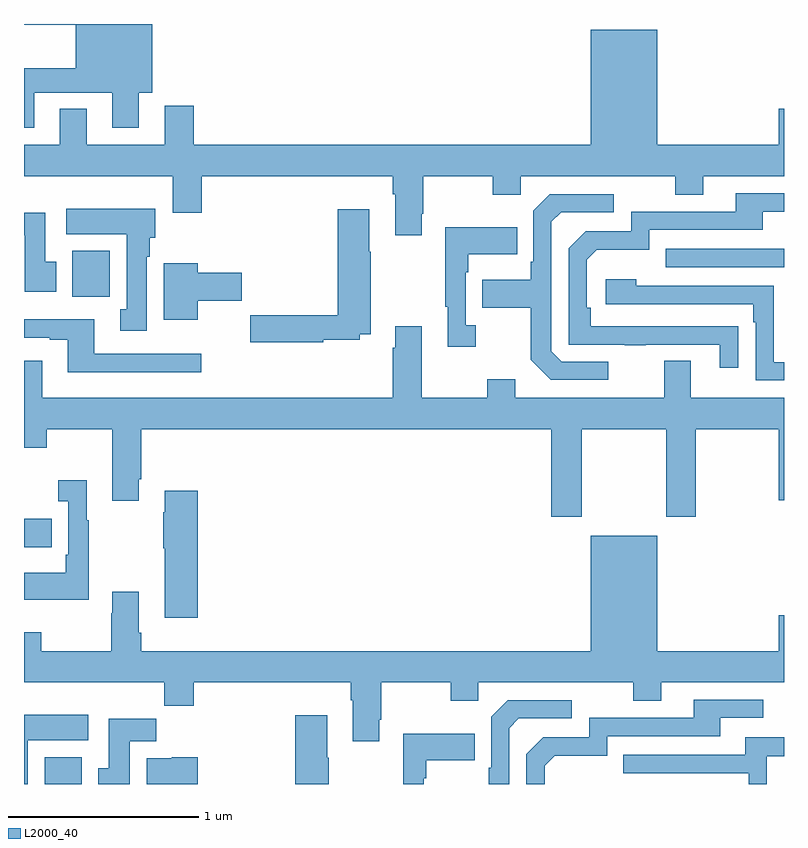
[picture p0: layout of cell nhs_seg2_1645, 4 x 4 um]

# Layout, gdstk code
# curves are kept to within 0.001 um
import gdstk
lib = gdstk.Library(unit=1e-6, precision=1e-09)
def R(c, l, rs):  # rectangles x0, y0, x1, y1
    for r in rs: c.add(gdstk.rectangle(r[:2], r[2:], *l))
def P(c, l, *ps):  # polygons
    for p in ps: c.add(gdstk.Polygon(p, *l))
L2000_40 = (2000, 40)

nhs_seg2_1645 = lib.new_cell('nhs_seg2_1645')
R(nhs_seg2_1645, L2000_40, [(197.108,613.8,197.305,613.942), (197,615.047,197.147,615.195), (197.255,616.364,197.452,616.606), (200.377,616.521,201,616.617)])
P(nhs_seg2_1645, L2000_40, [(197.053,617.438),(197.465,617.438),(197.465,617.253),(197.605,617.253),(197.605,617.438),(197.674,617.438),(197.674,617.8),(197,617.8),(197,617.795),(197.273,617.795),(197.273,617.566),(197,617.566),(197,617.253),(197.053,617.253)],
  [(199.093,616.801),(199.101,616.801),(199.101,617),(199.468,617),(199.468,616.901),(199.614,616.901),(199.614,617),(200.428,617),(200.428,616.901),(200.575,616.901),(200.575,617),(201,617),(201,617.353),(200.972,617.353),(200.972,617.164),(200.332,617.164),(200.332,617.77),(199.982,617.77),(199.982,617.164),(197.894,617.164),(197.894,617.371),(197.741,617.371),(197.741,617.164),(197.329,617.164),(197.329,617.353),(197.189,617.353),(197.189,617.164),(197,617.164),(197,617),(197.783,617),(197.783,616.806),(197.936,616.806),(197.936,617),(198.941,617),(198.941,616.904),(198.953,616.904),(198.953,616.689),(199.093,616.689)],
  [(200.759,616.208),(199.982,616.209),(199.982,616.306),(199.962,616.306),(199.962,616.56),(200.015,616.613),(200.292,616.613),(200.292,616.716),(200.887,616.716),(200.887,616.812),(201,616.812),(201,616.908),(200.747,616.908),(200.747,616.812),(200.196,616.812),(200.196,616.71),(199.956,616.71),(199.866,616.62),(199.866,616.113),(200.161,616.113),(200.161,616.108),(200.273,616.108),(200.273,616.113),(200.663,616.113),(200.663,615.99),(200.759,615.99)],
  [(200.074,616.023),(199.83,616.023),(199.776,616.077),(199.776,616.758),(199.827,616.809),(200.104,616.809),(200.104,616.905),(199.767,616.905),(199.68,616.818),(199.68,616.549),(199.668,616.549),(199.668,616.453),(199.411,616.453),(199.411,616.306),(199.668,616.306),(199.668,616.033),(199.773,615.927),(200.074,615.927)],
  [(197.647,616.574),(197.662,616.574),(197.662,616.674),(197.692,616.674),(197.692,616.828),(197.223,616.828),(197.223,616.694),(197.54,616.694),(197.54,616.298),(197.507,616.298),(197.507,616.185),(197.647,616.185)],
  [(198.576,616.138),(198.768,616.138),(198.768,616.166),(198.825,616.166),(198.825,616.601),(198.817,616.601),(198.817,616.825),(198.65,616.825),(198.65,616.268),(198.192,616.268),(198.192,616.126),(198.576,616.126)],
  [(197.17,616.548),(197.113,616.548),(197.113,616.807),(197,616.807),(197,616.688),(197.003,616.688),(197.003,616.392),(197.17,616.392)],
  [(199.378,616.214),(199.326,616.214),(199.326,616.493),(199.339,616.493),(199.339,616.589),(199.595,616.589),(199.595,616.729),(199.218,616.729),(199.218,616.313),(199.229,616.313),(199.229,616.101),(199.378,616.101)],
  [(197.914,616.343),(198.145,616.343),(198.145,616.49),(197.914,616.49),(197.914,616.54),(197.735,616.54),(197.735,616.244),(197.914,616.244)],
  [(201,616.02),(200.946,616.02),(200.946,616.422),(200.222,616.422),(200.222,616.456),(200.061,616.456),(200.061,616.326),(200.837,616.326),(200.837,616.229),(200.85,616.229),(200.85,615.924),(201,615.924)],
  [(197.932,616.065),(197.371,616.065),(197.371,616.246),(197,616.246),(197,616.149),(197.135,616.149),(197.135,616.137),(197.231,616.137),(197.231,615.968),(197.932,615.968)],
  [(199.935,615.668),(200.38,615.668),(200.38,615.207),(200.535,615.207),(200.535,615.668),(200.972,615.668),(200.972,615.294),(201,615.294),(201,615.832),(200.509,615.832),(200.509,616.027),(200.369,616.027),(200.369,615.832),(199.585,615.832),(199.585,615.931),(199.438,615.931),(199.438,615.832),(199.093,615.832),(199.093,616.21),(198.953,616.21),(198.953,616.097),(198.941,616.097),(198.941,615.832),(197.095,615.832),(197.095,616.027),(197,616.027),(197,615.569),(197.121,615.569),(197.121,615.668),(197.465,615.668),(197.465,615.291),(197.605,615.291),(197.605,615.403),(197.618,615.403),(197.618,615.668),(199.775,615.668),(199.775,615.207),(199.935,615.207)],
  [(197.341,615.187),(197.329,615.187),(197.329,615.4),(197.181,615.4),(197.181,615.287),(197.232,615.287),(197.232,615.007),(197.22,615.007),(197.22,614.911),(197,614.911),(197,614.771),(197.341,614.771)],
  [(197.914,615.343),(197.741,615.343),(197.741,615.23),(197.734,615.23),(197.734,615.041),(197.741,615.041),(197.741,614.676),(197.914,614.676)],
  [(198.871,614.137),(198.879,614.137),(198.879,614.336),(199.246,614.336),(199.246,614.237),(199.392,614.237),(199.392,614.336),(200.206,614.336),(200.206,614.237),(200.353,614.237),(200.353,614.336),(201,614.336),(201,614.689),(200.972,614.689),(200.972,614.5),(200.332,614.5),(200.332,615.106),(199.982,615.106),(199.982,614.5),(197.618,614.5),(197.618,614.596),(197.605,614.596),(197.605,614.812),(197.465,614.812),(197.465,614.699),(197.458,614.699),(197.458,614.5),(197.091,614.5),(197.091,614.599),(197,614.599),(197,614.336),(197.737,614.336),(197.737,614.212),(197.894,614.212),(197.894,614.336),(198.719,614.336),(198.719,614.24),(198.731,614.24),(198.731,614.025),(198.871,614.025)],
  [(199.74,613.896),(199.793,613.949),(200.07,613.949),(200.07,614.052),(200.665,614.052),(200.665,614.148),(200.89,614.148),(200.89,614.244),(200.525,614.244),(200.525,614.148),(199.974,614.148),(199.974,614.046),(199.734,614.046),(199.644,613.956),(199.644,613.8),(199.74,613.8)],
  [(199.554,614.094),(199.605,614.145),(199.882,614.145),(199.882,614.241),(199.545,614.241),(199.458,614.154),(199.458,613.885),(199.446,613.885),(199.446,613.8),(199.554,613.8)],
  [(197.02,614.03),(197.338,614.03),(197.338,614.164),(197,614.164),(197,613.8),(197.02,613.8)],
  [(198.603,613.937),(198.595,613.937),(198.595,614.161),(198.428,614.161),(198.428,613.8),(198.603,613.8)],
  [(197.557,614.024),(197.696,614.024),(197.696,614.143),(197.447,614.143),(197.447,613.884),(197.39,613.884),(197.39,613.8),(197.557,613.8)],
  [(199.104,613.829),(199.117,613.829),(199.117,613.925),(199.373,613.925),(199.373,614.065),(198.996,614.065),(198.996,613.8),(199.104,613.8)],
  [(200.91,613.947),(201,613.947),(201,614.047),(200.795,614.047),(200.795,613.953),(200.155,613.953),(200.155,613.857),(200.814,613.857),(200.814,613.8),(200.91,613.8)],
  [(197.914,613.942),(197.778,613.942),(197.778,613.936),(197.645,613.936),(197.645,613.8),(197.914,613.8)])

lib.write_gds('nhs_seg2_1645.gds')
